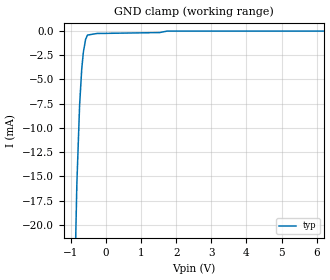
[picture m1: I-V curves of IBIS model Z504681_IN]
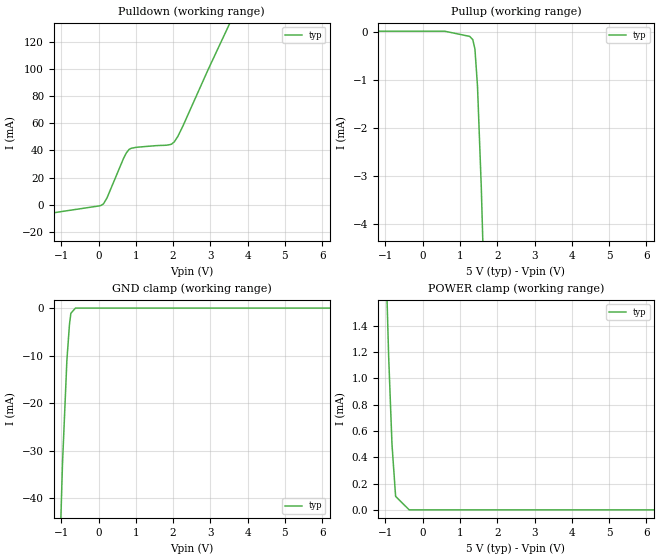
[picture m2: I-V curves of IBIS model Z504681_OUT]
| YOU ARE ONLY AUTHORIZED TO USE THIS SOFTWARE
| ACCORDING TO LICENSOR'S LICENSE RESTRICTIONS.
[IBIS Ver] 3.1
[File Name] sn74ls390d.ibs
[File Rev] 2.0
[Source] Measured and created by ICX Technology
[Date] Friday 7/14/00 9:08:20 AM
[Copyright]
| (C) COPYRIGHT 1993-2000
| MENTOR GRAPHICS CORPORATION
| ICX STANDARD LIBRARY, ICX PROJECT MODELING,
| ICX CUSTOM MODELING, ICX VENDOR MODEL
| ALL RIGHTS RESERVED.
| THE FOLLOWING ARE TRADEMARKS OR SERVICE MARKS OF
| MENTOR GRAPHICS CORPORATION:ICX (R), ICX STANDARD
| LIBRARY(R), ICX PROJECT MODELING(R), ICX CUSTOM
| MODELING(R), qualityIBIS(TM), MODELVIEWER(TM),
| AND MODELEDITOR(TM)
| ALL COPIES OF SOFTWARE, INCLUDING BUT NOT LIMITED TO
| ANY MODIFICATIONS, ENHANCEMENTS OR DERIVATIVE WORKS,
| MUST CONTAIN ALL MENTOR GRAPHICS CORPORATION'S
| NOTICES AND LEGENDS, INCLUDING THOSE EMBEDDED IN
| SOFTWARE AND THOSE AFFIXED TO SOFTWARE MEDIUM
| AND CONTAINER, AS RECEIVED FROM MENTOR GRAPHICS
| CORPORATION.
|  ZAP Model Builder 2.7
[Component] SN74LS390D
[Manufacturer] OnSemiconductor
[Package]
| variable   typ   min   max
R_pkg  .156ohms NA NA
L_pkg  3.148nH NA NA
C_pkg  .388pF NA NA
[Pin] signal_name  model_name  R_pin  L_pin C_pin
1 _CLKA Z504681_IN .162 3.798n .418p
2 CLR Z504681_IN .158 3.358n .398p
3 QA Z504681_OUT .154 2.928n .378p
4 _CLKB Z504681_IN .15 2.508n .358p
5 QB Z504681_OUT .15 2.508n .358p
6 QC Z504681_OUT .154 2.928n .378p
7 QD Z504681_OUT .158 3.358n .398p
8 GND GND .162 3.798n .418p
9 QD Z504681_OUT .162 3.798n .418p
10 QC Z504681_OUT .158 3.358n .398p
11 QB Z504681_OUT .154 2.928n .378p
12 _CLKB Z504681_IN .15 2.508n .358p
13 QA Z504681_OUT .15 2.508n .358p
14 CLR Z504681_IN .154 2.928n .378p
15 _CLKA Z504681_IN .158 3.358n .398p
16 VCC POWER .162 3.798n .418p
| Models and submodels in the file (2): Z504681_IN (Input), Z504681_OUT (Output)
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| (C) COPYRIGHT 1993-2000
| MENTOR GRAPHICS CORPORATION
| ICX STANDARD LIBRARY, ICX PROJECT MODELING,
| ICX CUSTOM MODELING, ICX VENDOR MODEL
| ALL RIGHTS RESERVED.
| THE FOLLOWING ARE TRADEMARKS OR SERVICE MARKS OF
| MENTOR GRAPHICS CORPORATION:ICX (R), ICX STANDARD
| LIBRARY(R), ICX PROJECT MODELING(R), ICX CUSTOM
| MODELING(R), qualityIBIS(TM), MODELVIEWER(TM),
| AND MODELEDITOR(TM)
| ALL COPIES OF SOFTWARE, INCLUDING BUT NOT LIMITED TO
| ANY MODIFICATIONS, ENHANCEMENTS OR DERIVATIVE WORKS,
| MUST CONTAIN ALL MENTOR GRAPHICS CORPORATION'S
| NOTICES AND LEGENDS, INCLUDING THOSE EMBEDDED IN
| SOFTWARE AND THOSE AFFIXED TO SOFTWARE MEDIUM
| AND CONTAINER, AS RECEIVED FROM MENTOR GRAPHICS
| CORPORATION.
| Model Application Version 1.89 2/18/99.
[Model] Z504681_IN
Model_type Input
Vinl = 800.0mV
Vinh = 2.000V
C_comp 4.000pF NA NA
| variable typ   min   max
[Voltage Range] 5.000V NA NA
[GND Clamp Reference] 0.000V NA NA
[POWER Clamp Reference] 5.000V NA NA
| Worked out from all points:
|   GND clamp passes 1 mA (typ) near -0.59 V on its own axis
[GND Clamp]
-5V       -724.3mA   NA         NA
-829mV    -15.79mA   NA         NA
-751mV    -7.656mA   NA         NA
-689.9mV  -3.91mA    NA         NA
-644.5mV  -2.21mA    NA         NA
-581mV    -864uA     NA         NA
-527.3mV  -415.6uA   NA         NA
-263.7mV  -253.9uA   NA         NA
1.524V    -157.8uA   NA         NA
1.743V    -5.337uA   NA         NA
10V       -5.337uA   NA         NA
[POWER Clamp]
-5V       0A         NA         NA
10V       0A         NA         NA
| (C) COPYRIGHT 1993-2000
| MENTOR GRAPHICS CORPORATION
| ICX STANDARD LIBRARY, ICX PROJECT MODELING,
| ICX CUSTOM MODELING, ICX VENDOR MODEL
| ALL RIGHTS RESERVED.
| THE FOLLOWING ARE TRADEMARKS OR SERVICE MARKS OF
| MENTOR GRAPHICS CORPORATION:ICX (R), ICX STANDARD
| LIBRARY(R), ICX PROJECT MODELING(R), ICX CUSTOM
| MODELING(R), qualityIBIS(TM), MODELVIEWER(TM),
| AND MODELEDITOR(TM)
| ALL COPIES OF SOFTWARE, INCLUDING BUT NOT LIMITED TO
| ANY MODIFICATIONS, ENHANCEMENTS OR DERIVATIVE WORKS,
| MUST CONTAIN ALL MENTOR GRAPHICS CORPORATION'S
| NOTICES AND LEGENDS, INCLUDING THOSE EMBEDDED IN
| SOFTWARE AND THOSE AFFIXED TO SOFTWARE MEDIUM
| AND CONTAINER, AS RECEIVED FROM MENTOR GRAPHICS
| CORPORATION.
| Model Application Version 1.89 2/18/99.
[Model] Z504681_OUT
Model_type Output
Vref=5.000V
Rref=2.000kohms
Cref=15.00pF
Vmeas=1.300V
C_comp 8.000pF NA NA
| variable typ   min   max
[Voltage Range] 5.000V NA NA
[POWER Clamp Reference] 5.000V NA NA
[Pullup Reference] 5.000V NA NA
[Pulldown Reference] 0.000V NA NA
[GND Clamp Reference] 0.000V NA NA
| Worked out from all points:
|   slope of the pulldown table from 0 to 0.75 V, typ, clamps not added: 19.1 ohm
|   slope of the pullup table from 0 to 0.75 V, typ, clamps not added: 28.4 kohm
|   GND clamp passes 1 mA (typ) near -0.73 V on its own axis
|   POWER clamp passes 1 mA (typ) near -0.89 V on its own axis
[GND Clamp]
-5V       -1.316A    NA         NA
-1.123V   -73.49mA   NA         NA
-966.8mV  -32.65mA   NA         NA
-849.6mV  -11.02mA   NA         NA
-780.4mV  -3.452mA   NA         NA
-742.4mV  -1.09mA    NA         NA
-618.7mV  0A         NA         NA
10V       0A         NA         NA
[Pulldown]
-5V       -21.72mA   NA         NA
68.44mV   -545uA     NA         NA
131.7mV   560.5uA    NA         NA
224.6mV   4.817mA    NA         NA
669mV     34.04mA    NA         NA
820.5mV   40.81mA    NA         NA
1.021V    42.37mA    NA         NA
1.817V    43.87mA    NA         NA
2.033V    46.35mA    NA         NA
2.261V    57.83mA    NA         NA
2.931V    99.13mA    NA         NA
10V       514.9mA    NA         NA
[Pullup]
-5V       10.52uA    NA         NA
586mV     10.52uA    NA         NA
1.26V     -97.96uA   NA         NA
1.343V    -164.8uA   NA         NA
1.401V    -359.3uA   NA         NA
1.47V     -1.135mA   NA         NA
1.571V    -3.224mA   NA         NA
10V       -232.6mA   NA         NA
[POWER Clamp]
-5V       48.54mA    NA         NA
-1.045V   2.479mA    NA         NA
-916mV    1.181mA    NA         NA
-825mV    498.6uA    NA         NA
-728mV    103uA      NA         NA
-364mV    0A         NA         NA
10V       0A         NA         NA
[Ramp]
| variable typ min max
dV/dt_r 1.929/9.903n NA NA
dV/dt_f 1.929/2.116n NA NA
R_load = 500.0Ohms
